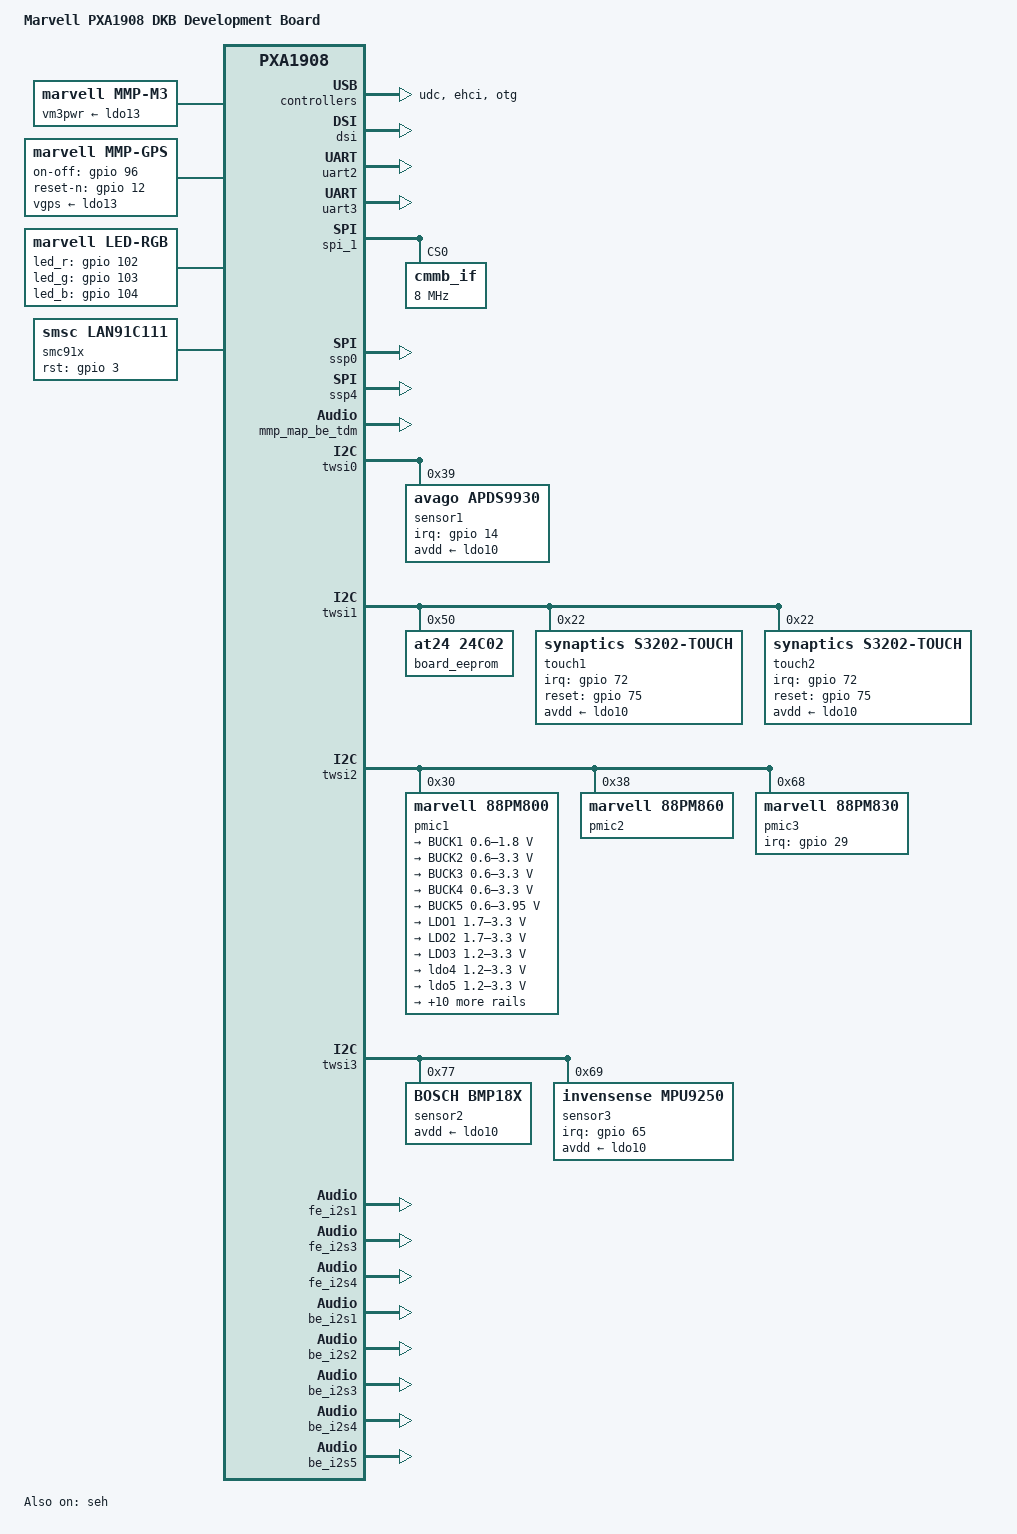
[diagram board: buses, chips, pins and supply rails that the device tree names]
/*
 *  Copyright (C) 2012 Marvell Technology Group Ltd.
 *  Author: Haojian Zhuang <haojian.zhuang@marvell.com>
 *
 *  This program is free software; you can redistribute it and/or modify
 *  it under the terms of the GNU General Public License version 2 as
 *  publishhed by the Free Software Foundation.
 */

/dts-v1/;
/memreserve/ 0x09000000 0x01000000;	/* ION (16MB)*/
/memreserve/ 0x17000000 0x01800000;	/* Frame buffer (24MB) */
/memreserve/ 0x08100000 0x00040000;	/* ramoops buffer (256KB) */
#include "pxa1908.dtsi"
#include <dt-bindings/mmc/pxa_sdhci.h>
#include <dt-bindings/interrupt-controller/irq.h>

/ {
	model = "Marvell PXA1908 DKB Development Board";
	compatible = "mrvl,pxa1908-fpga", "mrvl,pxa1908";

	chosen {
		bootargs = "console=ttyS0,115200 root=/dev/nfs nfsroot=192.168.1.100:/nfsroot/ ip=192.168.1.101:192.168.1.100::255.255.255.0::eth0:on";
	};

	memory {
		reg = <0 0x00000000 0x10000000>;
	};

	gic: interrupt-controller@d1dfa000 {
		status = "okay";
	};

	timer {
		status = "okay";
	};

	pmu {
		status = "okay";
	};

	soc {
		clock: clock-controller {
			status = "okay";
		};

		smmu {  /* iommu in vpu */
			status = "okay";
		};

		ddr@c0100000 {  /* DDR memory controller */
			status = "okay";
		};

		axi@d4200000 {	/* AXI */
			coda7542: coda7542@d420d000 {
				marvell,sram-internal = <0>;
				marvell,nv21_support = <1>;
				status = "okay";
			};

			intc: wakeupgen@d4282000 {
				status = "okay";
			};

			usbphy: usbphy@d4207000 {
				status = "disabled";
			};

			udc: udc@d4208100 {
				status = "okay";
			};

			ehci: ehci@d4208100 {
				status = "okay";
			};

			otg: otg@d4208100 {
				status = "okay";
			};

			dsi: dsi@d420b800 {
				marvell,phy-name = "mmp_dsi1";
				marvell,plat-path-name = "mmp_pnpath";
				marvell,dsi-lanes = <4>;
				marvell,burst-mode = <2>;
				marvell,hbp-en;
				status = "okay";
			};

			vdma: vdma@d4209000 {
				marvell,vdma-num = <1>;
				marvell,vdma-axi = <1>;
				status = "okay";
				vdma1 {
					marvell,vdma-id = <0>;
					marvell,sram-size = <15360>;
					marvell,is_vid = <0>;
				};
			};

			disp: disp@d420b000 {
				pinctrl-names = "default";
				pinctrl-0 = <&disp_func>;
				marvell,disp-name = "disp_name";
				marvell,path-num = <1>;
				status = "okay";
				path1 {
					marvell,path-name = "mmp_pnpath";
					marvell,overlay-num = <1>;
					marvell,overlay-table = <1>;
					marvell,output-type = <1>;
					marvell,path-config = <0x10>;
					marvell,link-config = <0x1>;
					720p {
						disp1_clksrc = "pll1_832m";
						disp2_clksrc = "pll2_div3";
						disp3_clksrc = "pll3p";
						dsipll_clksrc = "pll4";
						pn_sclk_clksrc = "disp1";
					};
				};
			};

			fb0: fbbase {
				marvell,fb-name = "mmp-fb";
				marvell,path-name = "mmp_pnpath";
				marvell,overlay-id = <1>;
				marvell,default-pixfmt = <0x109>;
				marvell,buffer-num = <3>;
				marvell,fb-mem = <0x17000000>;
				status = "okay";
			};

			/* eMMC */
			sdh3: sdh@d4281000 {
				pinctrl-names = "default", "fast";
				pinctrl-0 = <&sdh3_pmx_func1 &sdh3_pmx_func2>;
				pinctrl-1 = <&sdh3_pmx_func1_fast &sdh3_pmx_func2_fast>;
				bus-width = <8>;
				non-removable;
				marvell,sdh-pm-runtime-en;
				marvell,sdh-quirks = <(
						SDHCI_QUIRK_BROKEN_ADMA |
						SDHCI_QUIRK_BROKEN_CARD_DETECTION
						)>;
				marvell,sdh-quirks2 = <(
						SDHCI_QUIRK2_TUNING_ADMA_BROKEN |
						SDHCI_QUIRK2_TIMEOUT_SHORT
						)>;
				marvell,sdh-host-caps = <(MMC_CAP_1_8V_DDR)>;
				marvell,sdh-host-caps2 = <(MMC_CAP2_DISABLE_BLK_ASYNC)>;
				marvell,sdh-flags = <(
						PXA_FLAG_SD_8_BIT_CAPABLE_SLOT |
						PXA_FLAG_ENABLE_CLOCK_GATING |
						PXA_FLAG_TX_SEL_BUS_CLK
					      )>;
		/* prop "sdh-dtr-data": <timing preset_rate src_rate tx_delay rx_delay sdclk_sel0 sdclk_sel1 fakeclk_en> */
				marvell,sdh-dtr-data = <PXA_MMC_TIMING_LEGACY PXA_SDH_DTR_26M PXA_SDH_DTR_104M 0 0 0 0 0>,
						<PXA_MMC_TIMING_MMC_HS PXA_SDH_DTR_52M PXA_SDH_DTR_104M 0 0 0 0 0>,
						<PXA_MMC_TIMING_UHS_DDR50 PXA_SDH_DTR_52M PXA_SDH_DTR_104M 0 0 0 0 0>,
						<PXA_MMC_TIMING_MAX PXA_SDH_DTR_PS_NONE PXA_SDH_DTR_104M 0 0 0 0 0>;
				status = "okay";
			};

			/* SD card */
			sdh1: sdh@d4280000 {
				pinctrl-names = "default", "fast";
				pinctrl-0 = <&sdh1_pmx_func1 &sdh1_pmx_func2 &sdh1_pmx_func3>;
				pinctrl-1 = <&sdh1_pmx_func1 &sdh1_pmx_func2_fast &sdh1_pmx_func3_fast>;
				vqmmc-supply	= <&ldo5>;
				vmmc-supply	= <&ldo4>;
				cd-gpios = <&gpio 91 0>;
				cd-inverted;
				bus-width = <4>;
				wp-inverted;
				marvell,sdh-pm-runtime-en;
				marvell,sdh-host-caps-disable = <(MMC_CAP_UHS_SDR104)>;
				marvell,sdh-quirks = <(
						SDHCI_QUIRK_INVERTED_WRITE_PROTECT |
						SDHCI_QUIRK_BROKEN_CARD_DETECTION
						)>;
				marvell,sdh-quirks2 = <(
						SDHCI_QUIRK2_TUNING_ADMA_BROKEN |
						SDHCI_QUIRK2_TIMEOUT_SHORT
						)>;
				marvell,sdh-flags = <(
						PXA_FLAG_TX_SEL_BUS_CLK |
						PXA_FLAG_ENABLE_CLOCK_GATING
					      )>;
		/* prop "sdh-dtr-data": <timing preset_rate src_rate tx_delay rx_delay sdclk_sel0 sdclk_sel1 fakeclk_en> */
				marvell,sdh-dtr-data = <PXA_MMC_TIMING_LEGACY PXA_SDH_DTR_26M PXA_SDH_DTR_104M 0 0 0 0 0>,
						<PXA_MMC_TIMING_SD_HS PXA_SDH_DTR_52M PXA_SDH_DTR_104M 0 0 0 0 0>,
						<PXA_MMC_TIMING_UHS_DDR50 PXA_SDH_DTR_52M PXA_SDH_DTR_104M 0 0 0 0 0>,
						<PXA_MMC_TIMING_MAX PXA_SDH_DTR_PS_NONE PXA_SDH_DTR_104M 0 0 0 0 0>;
				status = "okay";
			};

			/* SDIO */
			sdh2: sdh@d4280800 {
				pinctrl-names = "default", "fast", "sleep";
				pinctrl-0 = <&sdh2_pmx_func1 &sdh2_pmx_func2 &sdh2_pmx_func3 &sdh2_pmx_func4>;
				pinctrl-1 = <&sdh2_pmx_func1_fast &sdh2_pmx_func2_fast &sdh2_pmx_func3 &sdh2_pmx_func4>;
				pinctrl-2 = <&sdh2_pmx_edge_wakeup>;
				bus-width = <4>;
				marvell,sdh-pm-runtime-en;
				marvell,sdh-host-caps-disable = <(MMC_CAP_UHS_SDR104 | MMC_CAP_UHS_SDR50)>;
				marvell,sdh-quirks = <(SDHCI_QUIRK_BROKEN_CARD_DETECTION)>;
				marvell,sdh-quirks2 = <(SDHCI_QUIRK2_HOLDSUSPEND_AFTER_REQUEST |
						SDHCI_QUIRK2_FAKE_SDIO_IRQ_IN_UHS |
						SDHCI_QUIRK2_TUNING_ADMA_BROKEN |
						SDHCI_QUIRK2_BASE_CLOCK_ALWAYS_ON |
						SDHCI_QUIRK2_MANUAL_CARD_DETECT |
						SDHCI_QUIRK2_TIMEOUT_SHORT
						)>;
				marvell,sdh-pm-caps = <(MMC_PM_KEEP_POWER)>;
				marvell,sdh-host-caps2 = <(MMC_CAP2_NO_VOLTAGE_SWITCH)>;
				marvell,sdh-flags = <(
						PXA_FLAG_WAKEUP_HOST |
						PXA_FLAG_TX_SEL_BUS_CLK |
						PXA_FLAG_EN_PM_RUNTIME |
						PXA_FLAG_DISABLE_PROBE_CDSCAN
					      )>;
		/* prop "sdh-dtr-data": <timing preset_rate src_rate tx_delay rx_delay sdclk_sel0 sdclk_sel1 fakeclk_en> */
				marvell,sdh-dtr-data = <PXA_MMC_TIMING_LEGACY PXA_SDH_DTR_26M PXA_SDH_DTR_104M 0 0 0 0 0>,
						<PXA_MMC_TIMING_SD_HS PXA_SDH_DTR_45M PXA_SDH_DTR_89M 0 0 0 0 0>,
						<PXA_MMC_TIMING_UHS_DDR50 PXA_SDH_DTR_52M PXA_SDH_DTR_104M 0 0 0 0 0>,
						<PXA_MMC_TIMING_UHS_SDR50 PXA_SDH_DTR_104M PXA_SDH_DTR_104M 0 0 0 0 0>,
						<PXA_MMC_TIMING_UHS_SDR104 PXA_SDH_DTR_208M PXA_SDH_DTR_208M 600 0 0 0 1>,
						<PXA_MMC_TIMING_MAX PXA_SDH_DTR_PS_NONE PXA_SDH_DTR_89M 0 0 0 0 0>;
				status = "okay";
			};

			ccic1: ccic@d420a000 {
			   pinctrl-names = "default";
			   pinctrl-0 = <&ccic1_pmx_func1 &ccic1_pmx_func2>;
			   interrupts = <0 42 0x4>;
			   status = "disabled";
			};

			ccic2: ccic@d420a800 {
			   pinctrl-names = "default";
			   pinctrl-0 = <&ccic2_pmx_func1 &ccic2_pmx_func2>;
			   interrupts = <0 77 0x4>;
			   status = "disabled";
			};

			sc2mmu1: sc2mmu@d420F000 {
				interrupts = <0 15 0x4>;
				status = "disabled";
			};

			b52isp: b52isp@0xC0200000 {
				interrupts = <0 11 0x4>;
				status = "disabled";
			};

			vpu-devfreq {
				status = "okay";
			};

			asram: asram@d12a0000 {
				status = "okay";
			};

			adma0: adma@d128d800 {
				status = "okay";
			};
		};

		apb@d4000000 {
			pdma0: pdma@d4000000 {
				status = "okay";
			};

			timer2: timer@d401f000 {
				status = "okay";
			};

			uart2: uart@d4017000 {
				pinctrl-names = "default", "sleep";
				pinctrl-0 = <&uart2_pmx_func1 &uart2_pmx_func2>;
				pinctrl-1 = <&uart2_pmx_func1_sleep &uart2_pmx_func2>;
				edge-wakeup-gpio = <47>; /* GPIO47: UART rx pin */
				status = "okay";
			};

			uart3: uart@d4018000 {
				pinctrl-names = "default";
				pinctrl-0 = <&uart3_pmx_func>;
				status = "okay";
			};

			mfpr: mfpr@d401e000 {
				pinctrl-names = "default";
				reg = <0xd401e000 0x280>;
				pinctrl-0 = <&mfp_pins_group_0 &mfp_pins_group_1 &mfp_pins_group_2>;
				status = "ok";
			};

			edgewakeup: edgewakeup@d4019800 {
				status = "okay";
			};

			rtc: rtc@d4010000 {
				status = "okay";
			};

			thermal: thermal@d4013300 {
				status = "okay";
			};

			watchdog: watchdog@d4080000 {
				status = "disabled";
			};

			keypad: keypad@d4012000 {
				marvell,direct-keys;
				marvell,direct-key-low-active;
				marvell,keypad-lpm-mod;
				marvell,direct-key-count = <2>;
				marvell,direct-key-mask = <0xff>;
				marvell,direct-key-map = < 0x73
							   0x72>;
				marvell,debounce-interval = <30>;
				pinctrl-names = "default";
				pinctrl-0 = <&keypad_in_func>;
				status = "okay";
			};

			keyreset {
				compatible = "marvell,keyreset";
				keys-down = <0x73 0x72>;
				keyreset-need-panic;
			};

			spi_1: spi@d401b000 {
					port = <&ssp0>;
					status = "okay";
					pinctrl-names = "default";
					pinctrl-0 = <&spi1_pmx_func>;
					#address-cells = <1>;
					#size-cells = <0>;
					cmmb_if {
						compatible = "cmmb_if";
						reg = <0x0 0x0>;
						bus_num = <1>;
						mode = <0x0>;
						spi-max-frequency = <8000000>;
					};
			};

			ssp0: ssp@d401b000 {
				status = "okay";
			};

			ssp4: ssp@d4039000 {
				status = "okay";
			};

			ssp_dai4: pxa-ssp-dai@4 {
				compatible = "mrvl,pxa-ssp-dai";
				reg = <0x4 0x0>;
				port = <&ssp4>;
				pinctrl-names = "default","ssp";
				pinctrl-0 = <&gssp_gpio>;
				pinctrl-1 = <&gssp_func>;
				ssp-gpio = <&gpio 25 0 &gpio 26 0 &gpio 27 0 &gpio 28 0>;
				dmas = <&pdma0 6 0
					&pdma0 7 0>;
				dma-names = "rx", "tx";
				platform_driver_name = "pdma_platform";
				burst_size = <8>;
				playback_period_bytes = <4096>;
				playback_buffer_bytes = <131072>;
				capture_period_bytes = <4096>;
				capture_buffer_bytes = <131072>;
			};

			/* SSPA port 0 */
			sspa0: sspa@d128dc00 {
				pinctrl-names = "default";
				pinctrl-0 = <&sspa0_func>;
				playback_period_bytes = <4096>;
				playback_buffer_bytes = <16384>;
				capture_period_bytes = <4096>;
				capture_buffer_bytes = <12288>;
				burst_size = <4>;
				#dailink-cells = <1>;
				status = "okay";
			};

			map: map@d1200000 {
				marvell,apll = <1>;
				status = "okay";
				mmp_map_codec: mmp_map_codec {
					compatible = "marvell,mmp-map-codec";
					#dailink-cells = <1>;
				};
				mmp_map_be: mmp_map_be {
					compatible = "marvell,mmp-map-be";
					#dailink-cells = <1>;
				};
				mmp_map_be_tdm: mmp_map_be_tdm {
					compatible = "marvell,mmp-map-be-tdm";
					marvell,single-out;
					#dailink-cells = <1>;
				};
			};

			gpio: gpio@d4019000 {
				status = "okay";
				/*
				 * In theorical, some gpios could be routed to
				 * multiple pins. So define the gpio-ranges in
				 * board file, not silicon file.
				 */
				gcb0: gpio@d4019000 {
					/* gpio offset, pin offset, nr pins */
					gpio-ranges = <&pmx 0 55 32>;
				};
				gcb1: gpio@d4019004 {
					gpio-ranges = <&pmx 0 87 23>;
				};
				gcb2: gpio@d4019008 {
					gpio-ranges = <&pmx 3 110 29>;
				};
				gcb3: gpio@d4019100 {
					gpio-ranges = <&pmx 0 139 3  &pmx 28 52 1>;
				};
			};
			pmx: pinmux@d401e000 {
				status = "okay";

				/* pin base, nr pins & gpio function */
				pinctrl-single,gpio-range = <
					/*
					 * GPIO number is hardcoded for range at here.
					 * In gpio chip, GPIO number is not hardcoded for range.
					 * Since one gpio pin may be routed to multiple pins,
					 * define these gpio range in pxa910-dkb.dts not pxa910.dtsi.
					 */
					&range 55 55 0	/* GPIO0 ~ GPIO54 */
					&range 110 32 0 /* GPIO67 ~ GPIO98 */
					&range 52 1 0	/* GPIO124 */
				>;

				/* MFP_PULL_HIGH | MFP_LPM_FLOAT */
				mfp_pins_group_0: mfp_pins_group_0 {
					pinctrl-single,pins = <
						PRI_TDO AF0
						DF_RDY0 AF1
						DF_RDY1 AF1
						DF_nCS0_SM_nCS2 AF1
						PA_MODE AF6
						RF_CONF_4 AF6
						SM_ADVMUX AF1
					>;
					MFP_LPM_PULL_UP;
				};

				mfp_pins_group_1: mfp_pins_group_1 {
					pinctrl-single,pins = <
						DF_IO8 AF0
						DF_IO9 AF0
						GPIO76 AF0
					>;
					MFP_LPM_PULL_DW;
				};

				/* CP UART Rx and Tx */
				mfp_pins_group_2: mfp_pins_group_2 {
					pinctrl-single,pins = <
						GPIO43 AF7
						GPIO44 AF7
					>;
					MFP_DEFAULT;
				};

				/* MFP_DEFAULT */
				sdh1_pmx_func1: sdh1_pmx_func1 {
					pinctrl-single,pins = <
						MMC1_DAT7 AF1
						MMC1_DAT6 AF1
						MMC1_DAT5 AF1
						MMC1_DAT4 AF1
						MMC1_WP AF1
						MMC1_CD AF1 /* Above pins not used by sdh1, configured as GPIO */
						GPIO91 AF0 /* GPIO91, used for sd card detect */
					>;
					MFP_DEFAULT;
				};

				/* no pull, no LPM */
				sdh1_pmx_func2: sdh1_pmx_func2 {
					pinctrl-single,pins = <
						MMC1_DAT3 AF0
						MMC1_DAT2 AF0
						MMC1_DAT1 AF0
						MMC1_DAT0 AF0
						MMC1_CMD AF0
					>;
					MFP_DEFAULT;
				};

				/* MFP_LPM_DRIVE_LOW */
				sdh1_pmx_func3: sdh1_pmx_func3 {
					pinctrl-single,pins = <
						MMC1_CLK AF0
					>;
					MFP_LPM_DRIVE_LOW;
				};

				/* ds fast, no pull, no LPM */
				sdh1_pmx_func2_fast: sdh1_pmx_func2_fast {
					pinctrl-single,pins = <
						MMC1_DAT3 AF0
						MMC1_DAT2 AF0
						MMC1_DAT1 AF0
						MMC1_DAT0 AF0
						MMC1_CMD AF0
					>;
					DS_FAST;PULL_NONE;EDGE_NONE;LPM_NONE;
				};

				/* ds fast, LPM_DRIVE_LOW */
				sdh1_pmx_func3_fast: sdh1_pmx_func3_fast {
					pinctrl-single,pins = <
						MMC1_CLK AF0
					>;
					DS_FAST;PULL_NONE;EDGE_NONE;LPM_DRIVE_LOW;
				};

				sdh2_pmx_func1_fast: sdh2_pmx_func1_fast {
						pinctrl-single,pins = <
							GPIO37 AF1
							GPIO38 AF1
							GPIO39 AF1
							GPIO40 AF1
							GPIO41 AF1
						>;
						DS_FAST;PULL_NONE;EDGE_NONE;LPM_NONE;
				};

				sdh2_pmx_func2_fast: sdh2_pmx_func2_fast {
						pinctrl-single,pins = <
							GPIO42 AF1
						>;
						DS_FAST;PULL_NONE;EDGE_NONE;LPM_DRIVE_LOW;
				};

				sdh2_pmx_func1: sdh2_pmx_func1 {
						pinctrl-single,pins = <
							GPIO37 AF1
							GPIO38 AF1
							GPIO39 AF1
							GPIO40 AF1
							GPIO41 AF1
						>;
						MFP_DEFAULT;
				};

				sdh2_pmx_func2: sdh2_pmx_func2 {
						pinctrl-single,pins = <
							GPIO42 AF1
						>;
						DS_SLOW0;PULL_NONE;EDGE_NONE;LPM_DRIVE_LOW;
				};

				sdh2_pmx_func3: sdh2_pmx_func3 {
						pinctrl-single,pins = <
							GPIO7 AF0
							GPIO71 AF0
							GPIO20 AF0 /* WIB_3V3_EN */
						>;
						DS_MEDIUM;PULL_FLOAT;EDGE_NONE;LPM_NONE;
				};

				sdh2_pmx_func4: sdh2_pmx_func4 {
						pinctrl-single,pins = <
							GPIO8 AF0
							GPIO5 AF0
						>;
						DS_MEDIUM;PULL_DOWN;EDGE_NONE;LPM_NONE;
				};

				sdh2_pmx_edge_wakeup: sdh2_pmx_edge_wakeup {
						pinctrl-single,pins = <
							GPIO39 AF1
						>;
						DS_MEDIUM;PULL_NONE;EDGE_BOTH;LPM_NONE;
				};

				/* no pull, no LPM */
				sdh3_pmx_func1: sdh3_pmx_func1 {
					pinctrl-single,pins = <
						ND_IO7 AF1
						ND_IO6 AF1
						ND_IO5 AF1
						ND_IO4 AF1
						ND_IO3 AF1
						ND_IO2 AF1
						ND_IO1 AF1
						ND_IO0 AF1
						ND_CLE_SM_OEN AF1
					>;
					MFP_DEFAULT;
				};

				/* MFP_LPM_DRIVE_LOW */
				sdh3_pmx_func2: sdh3_pmx_func2 {
					pinctrl-single,pins = <
						SM_SCLK AF1
					>;
					MFP_LPM_DRIVE_LOW;
				};

				/* ds fast, no pull, no LPM */
				sdh3_pmx_func1_fast: sdh3_pmx_func1_fast {
					pinctrl-single,pins = <
						ND_IO7 AF1
						ND_IO6 AF1
						ND_IO5 AF1
						ND_IO4 AF1
						ND_IO3 AF1
						ND_IO2 AF1
						ND_IO1 AF1
						ND_IO0 AF1
						ND_CLE_SM_OEN AF1
					>;
					DS_FAST;PULL_NONE;EDGE_NONE;LPM_NONE;
				};

				/* ds fast, LPM_DRIVE_LOW */
				sdh3_pmx_func2_fast: sdh3_pmx_func2_fast {
					pinctrl-single,pins = <
						SM_SCLK AF1
					>;
					DS_FAST;PULL_NONE;EDGE_NONE;LPM_DRIVE_LOW;
				};

				gnss_pmx_def1: gnss_pmx_def1 {
					pinctrl-single,pins = <
						ND_IO11 AF1
						ND_IO12 AF1
						ND_IO13 AF1
						ND_IO15 AF1
					>;
					MFP_LPM_PULL_DW;
				};

				gnss_pmx_def2: gnss_pmx_def2 {
					pinctrl-single,pins = <
						ND_IO14 AF0
					>;
					MFP_LPM_FLOAT;
				};

				gnss_pmx_power_on: gnss_pmx_power_on {
					pinctrl-single,pins = <
						ND_IO11 AF5
						ND_IO12 AF5
						ND_IO13 AF5
						ND_IO14 AF5
						ND_IO15 AF5
					>;
					MFP_DEFAULT;
				};

				uart2_pmx_func1: uart2_pmx_func1 {
					pinctrl-single,pins = <
						GPIO47 AF6
					>;
					MFP_DEFAULT;
				};

				uart2_pmx_func2: uart2_pmx_func2 {
					pinctrl-single,pins = <
						GPIO48 AF6
					>;
					MFP_DEFAULT;
				};

				uart2_pmx_func1_sleep: uart2_pmx_func1_sleep {
					pinctrl-single,pins = <
						GPIO47 AF6
					>;
					DS_MEDIUM;PULL_NONE;EDGE_BOTH;LPM_NONE;
				};

				uart3_pmx_func: uart3_pmx_func {
					pinctrl-single,pins = <
						GPIO45 AF1
						GPIO46 AF1
					>;
					MFP_DEFAULT;
				};

				keypad_in_func: keypad_in_func {
					pinctrl-single,pins = <
						GPIO16 AF1	/* GPIO016_KP_DKIN1 */
						GPIO17 AF1	/* GPIO017_KP_DKIN2 */
					>;
					DS_MEDIUM;PULL_UP;EDGE_NONE;LPM_DRIVE_HIGH;
				};

				gps_pmx_reset: gps_pmx_reset {
					pinctrl-single,pins = <
						GPIO12 AF0
					>;
					DS_MEDIUM;PULL_DOWN;EDGE_NONE;LPM_NONE;
				};
				gps_pmx_eclk: gps_pmx_eclk {
					/* eclk */
					pinctrl-single,pins = <
						0x0124 0x6
					>;
					MFP_DEFAULT;
				};

				gps_pmx_gpio: gps_pmx_gpio {
					/* gpio18 */
					pinctrl-single,pins = <
						0x0124 0x0
					>;
					MFP_DEFAULT;
				};

				spi1_pmx_func: spi1_pmx_func {
					/*
					 * Since spi isn't used on DKB, set spi
					 * mfp pin to gpio and set the mfp's
					 * config to MFP_DEFAULT to avoid power
					 * leakage. To enable spi, below config
					 * should be modified as below:
					 * GPIO33 AF2
					 * GPIO34 AF2
					 * GPIO35 AF2
					 * GPIO36 AF2
					 * DS_MEDIUM;PULL_DOWN;EDGE_NONE;LPM_NONE;
					 */
					pinctrl-single,pins = <
						GPIO33 AF0 /* GPIO33 SSP0_CLK */
						GPIO34 AF0 /* GPIO34 SSP0_FRM */
						GPIO35 AF0 /* GPIO35 SSP0_RX */
						GPIO36 AF0 /* GPIO36 SSP0_TX */
					>;
					MFP_DEFAULT;
				};

				ccic1_pmx_func1: ccic1_pmx_func1 {
					pinctrl-single,pins = <
						GPIO77 AF1
						GPIO67 AF5
						GPIO68 AF5
					>;
					MFP_DEFAULT;
				};

				ccic1_pmx_func2: ccic1_pmx_func2 {
					pinctrl-single,pins = <
						GPIO51 AF7
						GPIO52 AF7
					>;
					MFP_LPM_FLOAT;
				};
				ccic2_pmx_func1: ccic2_pmx_func1 {
					pinctrl-single,pins = <
						GPIO77 AF1
						GPIO69 AF5
						GPIO70 AF5
					>;
					MFP_DEFAULT;
				};

				ccic2_pmx_func2: ccic2_pmx_func2 {
					pinctrl-single,pins = <
						GPIO53 AF7
						GPIO54 AF7
					>;
					MFP_LPM_FLOAT;
				};

				twsi0_pmx_func: twsi0_pmx_func {
					/* gpio79/80: AF1 */
					pinctrl-single,pins = <
						GPIO79 0x1
						GPIO80 0x1
					>;
					MFP_LPM_FLOAT;
				};
				twsi0_pmx_gpio: twsi0_pmx_gpio {
					pinctrl-single,pins = <
						GPIO79 AF0
						GPIO80 AF0
					>;
					MFP_LPM_FLOAT;
				};
				twsi1_pmx_func: twsi1_pmx_func {
					/* gpio87/88: AF5 */
					pinctrl-single,pins = <
						GPIO87 0x5
						GPIO88 0x5
					>;
					MFP_LPM_FLOAT;
				};
				twsi1_pmx_gpio: twsi1_pmx_gpio {
					pinctrl-single,pins = <
						GPIO87 AF0
						GPIO88 AF0
					>;
					MFP_LPM_FLOAT;
				};

				twsi3_pmx_func: twsi3_pmx_func {
					/* gpio73/74: AF5 */
					pinctrl-single,pins = <
						0x1d0 0x5
						0x1d4 0x5
					>;
					MFP_LPM_FLOAT;
				};
				twsi3_pmx_gpio: twsi3_pmx_gpio {
					pinctrl-single,pins = <
						GPIO73 AF0
						GPIO74 AF0
					>;
					MFP_LPM_FLOAT;
				};
				pm830_pmx_func1: pm830_pmx_func1 {
					pinctrl-single,pins = <
						GPIO29 AF0
					>;
					MFP_DEFAULT;
				};
				pm830_pmx_func1_sleep: pm830_pmx_func1_sleep {
					pinctrl-single,pins = <
						GPIO29 AF0
					>;
					DS_MEDIUM;PULL_NONE;EDGE_BOTH;LPM_NONE;
				};

				touch_pins: touch_pins {
					pinctrl-single,pins = <
						GPIO72 0x0
						GPIO75 0x0
					>;
					MFP_LPM_FLOAT;

				};
				pm830_pmx_leds: pm830_pmx_leds {
					pinctrl-single,pins = <
						GPIO19 AF0	/* PA_EN */
						GPIO95 AF0	/* FLASH_EN */
					>;
					MFP_LPM_FLOAT;
				};
				pm830_bat_det: pm830_bat_det {
					pinctrl-single,pins = <
						GPIO31 AF0	/* BAT_DET */
					>;
					MFP_LPM_PULL_DW;
				};
				m9250_irq_pin: m9250_irq_pin {
					pinctrl-single,pins = <
					ND_IO10 AF1
					>;
					MFP_LPM_PULL_DW;
				};
				sspa0_gpio: sspa0_gpio {
					pinctrl-single,pins = <
						GPIO21 AF0
						GPIO22 AF0
						GPIO23 AF0
						GPIO24 AF0
					>;
					DS_MEDIUM;PULL_NONE;EDGE_NONE;LPM_FLOAT;
				};
				sspa0_func: sspa0_func {
					pinctrl-single,pins = <
						GPIO21 AF7
						GPIO22 AF7
						GPIO23 AF7
						GPIO24 AF7
					>;
					DS_MEDIUM;PULL_NONE;EDGE_NONE;LPM_NONE;
				};
				sspa1_func: sspa1_func {
					pinctrl-single,pins = <
						GPIO25 AF7
						GPIO26 AF7
						GPIO27 AF7
						GPIO28 AF7
					>;
					DS_MEDIUM;PULL_NONE;EDGE_NONE;LPM_NONE;
				};
				disp_func: disp_func {
					pinctrl-single,pins = <
						GPIO4 AF0
						GPIO6 AF0
						GPIO32 AF0
					>;
					MFP_LPM_PULL_DW;
				};
				/* no pull, no LPM */
				dvc_pmx_func: dvc_pmx_func {
					pinctrl-single,pins = <
						GPIO93 AF5
						GPIO94 AF5
					>;
					MFP_DEFAULT;
				};
				gssp_func: gssp_func {
					pinctrl-single,pins = <
						GPIO25 AF1
						GPIO26 AF1
						GPIO27 AF1
						GPIO28 AF1
					>;
					DS_MEDIUM;PULL_NONE;EDGE_NONE;LPM_NONE;
				};
				gssp_gpio: gssp_gpio {
					pinctrl-single,pins = <
						GPIO25 AF0
						GPIO26 AF0
						GPIO27 AF0
						GPIO28 AF0
					>;
					DS_MEDIUM;PULL_NONE;EDGE_NONE;LPM_FLOAT;
				};

				led_pmx_func: led_pmx_func {
					pinctrl-single,pins = <
						/* LED_R_CTRL */
						DF_nCS1_SM_nCS3 AF1
						/* LED_G_CTRL */
						SM_nCS0 AF1
						/* LED_B_CTRL */
						SM_nCS1 AF1
					>;
					MFP_LPM_PULL_DW;
				};
			};

			twsi0: i2c@d4011000 {
				pinctrl-names = "default","gpio";
				pinctrl-0 = <&twsi0_pmx_func>;
				pinctrl-1 = <&twsi0_pmx_gpio>;
				i2c-gpio = <&gpio 79 0 &gpio 80 0>;
				status = "okay";

				sensor1: apds9930@39 {
					compatible = "avago,apds9930";
					reg = <0x39>;
					interrupt-parent = <&gpio>;
					interrupts = <14 0x1>;
					irq-gpios = <&gpio 14 0>;
					avdd-supply = <&ldo10>;
				};
			};

			twsi1: i2c@d4010800 {
				pinctrl-names = "default","gpio";
				pinctrl-0 = <&twsi1_pmx_func>;
				pinctrl-1 = <&twsi1_pmx_gpio>;
				i2c-gpio = <&gpio 87 0 &gpio 88 0>;
				status = "okay";

				board_eeprom: 24aa025t {
					compatible = "at24,24c02";
					reg = <0x50>;
				};

				touch1: s3202@720p {
					compatible = "synaptics,s3202-touch";
					pinctrl-names = "default"; pinctrl-0 = <&touch_pins>;
					reg = <0x22>;
					interrupt-parent = <&gpio>;
					interrupts = <72 0x1>;
					/* IRQF_ONESHOT | IRQF_TRIGGER_FALLING */
					synaptics,irq-flags =  <0x2002>;
					synaptics,irq-gpios = <&gpio 72 0>;
					synaptics,reset-gpios = <&gpio 75 0>;
					synaptics,sensor_res_x = <720>;
					synaptics,sensor_res_y = <1280>;
					synaptics,sensor_max_x = <798>;
					synaptics,sensor_max_y = <1392>;
					synaptics,sensor_margin_x = <39>;
					synaptics,sensor_margin_y = <0>;
					avdd-supply = <&ldo10>;
				};

				touch2: s3202@1080p {
					compatible = "synaptics,s3202-touch";
					pinctrl-names = "default"; pinctrl-0 = <&touch_pins>;
					reg = <0x22>;
					interrupt-parent = <&gpio>;
					interrupts = <72 0x1>;
					/* IRQF_ONESHOT | IRQF_TRIGGER_FALLING */
					synaptics,irq-flags =  <0x2002>;
					synaptics,irq-gpios = <&gpio 72 0>;
					synaptics,reset-gpios = <&gpio 75 0>;
					synaptics,sensor_res_x = <1080>;
					synaptics,sensor_res_y = <1920>;
					synaptics,sensor_max_x = <1080>;
					synaptics,sensor_max_y = <2070>;
					synaptics,sensor_margin_x = <0>;
					synaptics,sensor_margin_y = <0>;
					avdd-supply = <&ldo10>;
				};

			};

			twsi2: i2c@d4037000 {
				status = "okay";

				pmic1: 88pm822@30 {
					compatible = "marvell,88pm800";
					reg = <0x30>;
					interrupts = <0 4 0x4>;
					interrupt-parent = <&gic>;
					interrupt-controller;
					#interrupt-cells = <1>;
					marvell,88pm800-irq-write-clear;

					marvell,88pm800-power-page-addr = <0x31>;
					marvell,88pm800-gpadc-page-addr = <0x32>;

					regulators {
						compatible = "marvell,88pm80x-regulator";

						BUCK1 {
							regulator-compatible = "88PM800-BUCK1";
							regulator-min-microvolt = <600000>;
							regulator-max-microvolt = <1800000>;
							regulator-boot-on;
							regulator-always-on;
						};
						BUCK2 {
							regulator-compatible = "88PM800-BUCK2";
							regulator-min-microvolt = <600000>;
							regulator-max-microvolt = <3300000>;
							regulator-boot-on;
							regulator-always-on;
						};
						BUCK3 {
							regulator-compatible = "88PM800-BUCK3";
							regulator-min-microvolt = <600000>;
							regulator-max-microvolt = <3300000>;
							regulator-boot-on;
							regulator-always-on;
						};
						BUCK4 {
							regulator-compatible = "88PM800-BUCK4";
							regulator-min-microvolt = <600000>;
							regulator-max-microvolt = <3300000>;
							regulator-boot-on;
							regulator-always-on;
						};
						BUCK5 {
							regulator-compatible = "88PM800-BUCK5";
							regulator-min-microvolt = <600000>;
							regulator-max-microvolt = <3950000>;
							regulator-boot-on;
							regulator-always-on;
						};
						LDO1 {
							regulator-compatible = "88PM800-LDO1";
							regulator-min-microvolt = <1700000>;
							regulator-max-microvolt = <3300000>;
							regulator-boot-on;
							regulator-always-on;
						};
						LDO2 {
							regulator-compatible = "88PM800-LDO2";
							regulator-min-microvolt = <1700000>;
							regulator-max-microvolt = <3300000>;
							regulator-boot-on;
							regulator-always-on;
						};
						LDO3 {
							regulator-compatible = "88PM800-LDO3";
							regulator-min-microvolt = <1200000>;
							regulator-max-microvolt = <3300000>;
							regulator-boot-on;
							regulator-always-on;
						};
						ldo4: LDO4 {
							regulator-compatible = "88PM800-LDO4";
							regulator-min-microvolt = <1200000>;
							regulator-max-microvolt = <3300000>;
						};
						ldo5: LDO5 {
							regulator-compatible = "88PM800-LDO5";
							regulator-min-microvolt = <1200000>;
							regulator-max-microvolt = <3300000>;
						};
						LDO6 {
							regulator-compatible = "88PM800-LDO6";
							regulator-min-microvolt = <1200000>;
							regulator-max-microvolt = <3300000>;
						};
						LDO7 {
							regulator-compatible = "88PM800-LDO7";
							regulator-min-microvolt = <1200000>;
							regulator-max-microvolt = <3300000>;
							regulator-boot-on;
							regulator-always-on;
						};
						ldo8: LDO8 {
							regulator-compatible = "88PM800-LDO8";
							regulator-min-microvolt = <1200000>;
							regulator-max-microvolt = <3300000>;
							regulator-boot-on;
							regulator-always-on;
						};
						LDO9 {
							regulator-compatible = "88PM800-LDO9";
							regulator-min-microvolt = <1200000>;
							regulator-max-microvolt = <3300000>;
						};
						ldo10: LDO10 {
							regulator-compatible = "88PM800-LDO10";
							regulator-min-microvolt = <1200000>;
							regulator-max-microvolt = <3300000>;
						};
						ldo11: LDO11 {
							regulator-compatible = "88PM800-LDO11";
							regulator-min-microvolt = <1200000>;
							regulator-max-microvolt = <3300000>;
						};
						ldo12: LDO12 {
							regulator-compatible = "88PM800-LDO12";
							regulator-min-microvolt = <600000>;
							regulator-max-microvolt = <1500000>;
						};
						ldo13: LDO13 {
							regulator-compatible = "88PM800-LDO13";
							regulator-min-microvolt = <1700000>;
							regulator-max-microvolt = <3300000>;
						};
						ldo14: LDO14 {
							regulator-compatible = "88PM800-LDO14";
							regulator-min-microvolt = <1700000>;
							regulator-max-microvolt = <2800000>;
						};
						voutsw: VOUTSW {
							regulator-compatible = "88PM800-VOUTSW";
							regulator-min-microvolt = <1700000>;
							regulator-max-microvolt = <1800000>;
						};
					};

					vibrator: vibrator {
						compatible = "marvell,88pm80x-vibrator";
						min-timeout = <10>;
						duty-cycle = <0x3f>;
					};

					headset {
						compatible = "marvell,88pm80x-headset";
						marvell,switch-name = "h2w";
						marvell,headset-flag = <1>;
						marvell,hook-press-th = <60>;
						marvell,vol-up-press-th = <250>;
						marvell,vol-down-press-th = <500>;
						marvell,mic-det-th = <600>;
						marvell,press-release-th = <600>;
						marvell,micbias-supply = <&ldo14>;
					};

					dvc {
						compatible = "marvell,88pm8xx-dvc";
						/* pm822 dvc affect buck1/3/5, affected 32bit = (1 << 4) | (1 << 2) | (1 << 0)*/
						dvc-affected-buckbits = <21>;
						pinctrl-names = "default";
						pinctrl-0 = <&dvc_pmx_func>;
					};
				};
				pmic2: 88pm860@38 {
					compatible = "marvell,88pm860";
					reg = <0x38>;
					/* no codec_int currently, comment out now */
					/*
					interrupt-parent = <&gpio>;
					interrupts = <124 0x1>;
					marvell,88pm805-irq-write-clear;
					*/
					pm860_codec: pm860_codec {
						compatible = "marvell,88pm860-codec";
						#dailink-cells = <1>;
					};
				};

				pmic3: 88pm830@68 {
					compatible = "marvell,88pm830";

					pinctrl-names = "default", "sleep";
					pinctrl-0 = <&pm830_pmx_func1 &pm830_pmx_leds &pm830_bat_det>;
					pinctrl-1 = <&pm830_pmx_func1_sleep &pm830_pmx_leds &pm830_bat_det>;
					edge-wakeup-gpio = <29>; /* GPIO29: interrupt line */

					reg = <0x68>;
					interrupt-parent = <&gpio>;
					interrupt-controller;
					/* edge falling */
					interrupts = <29 2>;
					#interrupt-cells = <1>;

					/* IRQF_ONESHOT | IRQF_TRIGGER_FALLING */
					marvell,88pm830-irq-flags =  <0x2002>;

					charger {
						compatible = "marvell,88pm830-chg";
						prechg-current = <100>;	/* mA */
						prechg-voltage = <3300>; /* mV */
						prechg-timeout = <32>; /* minute */

						fastchg-eoc = <60>; /* mA */
						fastchg-voltage = <4200>; /* mV */
						fastchg-timeout = <8>; /* hour */

						over-voltage = <4300>; /* mV */

						no-thermal-support = <0>;
						thermal-threshold = <0xf 0xf 0x0 0x0>;

						temp-configure = <0x22>;
						temp-threshold = <150>;

						mppt-weight = <0x2>; /* 25% */
						mppt-period = <0x7>; /* 20ms */
						mppt-start-current = <0xf>; /* 1600mA */

					};

					battery {
						compatible = "marvell,88pm830-bat";

						bat-ntc-support = <1>;
						bat-capacity = <1500>;	/* mAh */
						external-resistor = <200>; /* mohm */
						sleep-period = <1000>; /* second */
						low-threshold = <30>; /* % */
						high-threshold = <50>; /* % */
					};

					usb {
						compatible = "marvell,88pm830-vbus";
						gpadc-number = <1>;
					};

					led {
						compatible = "marvell,88pm830-led";

						flash-en-gpio = <95>;
						flash-txmsk-gpio = <19>;
					};
				};
			};

			twsi3: i2c@d4013800 {
				pinctrl-names = "default", "gpio";
				pinctrl-0 = <&twsi3_pmx_func>;
				pinctrl-1 = <&twsi3_pmx_gpio>;
				i2c-gpio = <&gpio 73 0 &gpio 74 0>;
				status = "okay";

				sensor2: bmp18x@77 {
					compatible = "BOSCH,bmp18x";
					reg = <0x77>;
					avdd-supply = <&ldo10>;
				};

				sensor3: mpu9250@69 {
					compatible = "invensense,mpu9250";
					pinctrl-names = "default";
					pinctrl-0 = <&m9250_irq_pin>;
					reg = <0x69>;
					interrupt-parent = <&gpio>;
					interrupts = <65 IRQ_TYPE_EDGE_FALLING>;
					inven,irq-gpios = <&gpio 65 0x00>;
					avdd-supply = <&ldo10>;
					axis_map_x = <0>;
					negate_x = <0>;
					axis_map_y = <4>;
					negate_y = <0>;
					axis_map_z = <8>;
					negate_z = <0>;
					inven,secondary_axis_map_x = <0>;
					inven,secondary_negate_x = <0>;
					inven,secondary_axis_map_y = <4>;
					inven,secondary_negate_y = <0>;
					inven,secondary_axis_map_z = <8>;
					inven,secondary_negate_z = <0>;
					inven,secondary_type = "compass";
					inven,secondary_name = "ak8963";
					inven,secondary_reg = <0xc>;
				};
			};

			acipc: acipc@d401d000 {
				status = "okay";
			};

			seh: seh@d4080000 {
				compatible = "mrvl,seh";
				reg = <0xd4080000 0x100>;
				interrupts = <0 32 0x4>;
				interrupt-names = "CP_TIMER2_3";
				watchdog-type = <1>; /* soc timer */
				timer-num = <2>; /* timer num */
				match-num = <0>; /* match num */
				status = "okay";
			};
		};

		sram: sram@0xd1004000 {
			status = "okay";
		};

		mcam0:mcam@0 {
			pwdn-gpios = <&gpio 80 0>;
			reset-gpios = <&gpio 67 0>;
			af_2v8-supply = <&ldo10>;
			avdd_2v8-supply = <&ldo11>;
			dovdd_1v8-supply = <&voutsw>;
			dvdd_1v2-supply = <&ldo12>;
			dphy_val = <0xff1d00 0x00024733 0x04001001>;
			status = "disable";
		};

		mcam1:mcam@1 {
			pwdn-gpios = <&gpio 70 0>;
			reset-gpios = <&gpio 69 0>;
			af_2v8-supply = <&ldo10>;
			avdd_2v8-supply = <&ldo11>;
			dovdd_1v8-supply = <&voutsw>;
			dvdd_1v2-supply = <&ldo12>;
			dphy_val = <0x1806 0x00011 0xe00>;
			status = "okay";
		};

		soc-camera@0 {
			status = "okay";
		};

		soc-camera@1 {
			status = "okay";
		};

		/*
		 * ramoops:
		 * 256 KB memory starts at 0x8100000
		 * pstore dump: 2 chunks, totall 64 KB, 32 KB each
		 * console size: 192 KB
		 * no dump_oops
		 */
		ramoops {
			compatible = "pstore,ramoops";
			mem-size = <0x40000>;
			mem-address = <0x8100000>;
			record-size = <0x8000>;
			console-size = <0x30000>;
			dump-oops = <0>;
			status = "okay";
		};
	};

	mmp_pcm_hostless: mmp_pcm_hostless {
		bus_number = <0>;
		compatible = "marvell,mmp-pcm-hostless";
		#dailink-cells = <1>;
		status = "okay";
	};

	snd_soc_dummy: snd_soc_dummy {
		compatible = "snd-soc-dummy";
		#dailink-cells = <1>;
		status = "okay";
	};

	sound {
		compatible = "marvell,map-card";
		map,dapm-route =
			"ADC input1", "TDM_MIC1_CAP",
			"ADC input2", "TDM_MIC2_CAP",
			"ADC input3", "BT_VC_UL",
			"TDM_OUT1_PLAYBACK", "DAC1 output out1",
			"TDM_OUT2_PLAYBACK", "DAC2 output out2",
			"BT_VC_DL", "ADC output ain3";
		fe_i2s1: fe_i2s1 {
			compatible = "marvell,map-dailink-1";
			dai-name = "MAP I2S1 audio";
			stream-name = "map i2s1";
			marvell,cpu-dai = <&sspa0 0>;
			marvell,codec-dai = <&mmp_map_codec 4>;
			marvell,dai-dynamic;
		};
		fe_i2s3: fe_i2s3 {
			compatible = "marvell,map-dailink-2";
			dai-name = "MAP I2S2 audio";
			stream-name = "map i2s2";
			marvell,cpu-dai = <&mmp_pcm_hostless 0>;
			marvell,codec-dai = <&mmp_map_codec 2>;
			marvell,dai-dynamic;
			marvell,dai-no-host-mode;
		};
		fe_i2s4: fe_i2s4 {
			compatible = "marvell,map-dailink-1";
			dai-name = "MAP I2S3 audio";
			stream-name = "map i2s3";
			marvell,cpu-dai = <&mmp_pcm_hostless 0>;
			marvell,codec-dai = <&mmp_map_codec 3>;
			marvell,dai-dynamic;
			marvell,dai-no-host-mode;
		};
		be_i2s1: be_i2s1 {
			compatible = "marvell,map-dailink-3";
			dai-name = "MAP AUXI2S audio";
			stream-name = "BT audio";
			marvell,cpu-dai = <&mmp_map_be 1>;
			marvell,codec-dai = <&snd_soc_dummy 0>;
			marvell,codec-name = "snd-soc-dummy";
			marvell,codec-dai-name = "snd-soc-dummy-dai";
			marvell,dai-no-pcm;
			marvell,dai-fixup = <0>;
		};
		be_i2s2: be_i2s2 {
			compatible = "marvell,map-dailink-6";
			dai-name = "MAP TDM hs audio";
			stream-name = "codec hs audio";
			marvell,cpu-dai = <&mmp_map_be_tdm 1>;
			marvell,codec-dai = <&pm860_codec 3>;
			marvell,dai-no-pcm;
			marvell,dai-fixup = <1>;
		};
		be_i2s3: be_i2s3 {
			compatible = "marvell,map-dailink-4";
			dai-name = "MAP TDM speaker audio";
			stream-name = "codec speaker audio";
			marvell,cpu-dai = <&mmp_map_be_tdm 2>;
			marvell,codec-dai = <&pm860_codec 4>;
			marvell,dai-no-pcm;
			marvell,dai-fixup = <1>;
		};
		be_i2s4: be_i2s4 {
			compatible = "marvell,map-dailink-5";
			dai-name = "MAP TDM mic1 audio";
			stream-name = "codec mic1 audio";
			marvell,cpu-dai = <&mmp_map_be_tdm 3>;
			marvell,codec-dai = <&pm860_codec 1>;
			marvell,dai-no-pcm;
		};
		be_i2s5: be_i2s5 {
			compatible = "marvell,map-dailink-5";
			dai-name = "MAP TDM mic2 audio";
			stream-name = "codec mic2 audio";
			marvell,cpu-dai = <&mmp_map_be_tdm 4>;
			marvell,codec-dai = <&pm860_codec 2>;
			marvell,dai-no-pcm;
		};
	};

	ion {
		marvell,ion-nr = <2>;
		marvell,ion-iommu = <1>;
		marvell,ion-extra-pages = <0>;
		status = "okay";
		heap1 {
			marvell,ion-name = "carveout_heap";
			marvell,ion-type = <2>;
			marvell,ion-id = <2>;
			marvell,ion-base = <0x09000000>;
			marvell,ion-size = <0x01000000>;
		};
		heap2 {
			marvell,ion-name = "system_heap";
			marvell,ion-type = <0>;
			marvell,ion-id = <0>;
		};
	};

	panel: td043mgea1 {
		compatible = "marvell,mmp-td043mgea1";
		marvell,path-name = "mmp_pnpath";
		status = "okay";
	};

	plat_cam {
		status = "okay";
		backsensor {
			compatible = "marvell,backsensor";
			#address-cells = <1>;
			#size-cells = <0>;
			status = "okay";
			OV13850: sensor@1 {
				compatible = "marvell,ov13850","marvell,sensor";
				pinctrl-names = "default";
				pinctrl-0 = <&ccic1_pmx_func1 &ccic1_pmx_func2>;
				sensor-name = "ovt,ov13850";
				reg = <0x10>;
				adapter = <0x1>;
				status = "okay";
				sensor-pos = <1>;
				mclk = <26000000>;
				dphy3 = <0x1500>;
				dphy5 = <0xff>;
				dphy6 = <0x1001>;
				af_2v8-supply = <&ldo10>;
				avdd_2v8-supply = <&ldo11>;
				dovdd_1v8-supply = <&voutsw>;
				dvdd_1v2-supply = <&ldo12>;
				sensor_power {
					pwdn-gpios = <&gpio 68 0>;
					reset-gpios = <&gpio 67 0>;
					pwdn-validvalue = <0>;
					reset-validvalue = <0>;
				};
			};
		};
	};

	b52isp_sc2_csi0 {
		status = "disabled";
	};
	b52isp_sc2_csi1 {
		status = "disabled";
	};
	b52isp_sc2_dma0 {
		status = "disabled";
	};
	b52isp_sc2_dma1 {
		status = "disabled";
	};

	sd8x-rfkill {
		sd-host = <&sdh2>;
		pd-gpio = <&gpio 7 0>;
		rst-gpio = <&gpio 71 0>;
		3v3-ldo-gpio = <&gpio 20 0>;
		edge-wakeup-gpio = <&gpio 39 0>;
		status = "disabled";
	};

	sd8xxx-wlan {
		drv_mode = <0x5>;
		cfg80211_wext = <0xc>;
		sta_name = "wlan";
		wfd_name = "p2p";
		max_vir_bss = <1>;
		drvdbg = <0x80007>;
		dev_cap_mask = <0xffffcfff>;
		init_cfg = "mrvl/wifi_init_cfg.conf";
		reg_alpha2 = "US";
		p2p_enh = <1>;
	};

	sd8xxx-bt {
		init_cfg = "mrvl/bt_init_cfg.conf";
	};

        mmp-m3 {
		compatible = "marvell,mmp-m3";
		vm3pwr-supply = <&ldo13>;

		pinctrl-names = "default", "poweron";
		pinctrl-0 = <&gnss_pmx_def1 &gnss_pmx_def2>;
		pinctrl-1 = <&gnss_pmx_power_on>;
		status = "okay";
	};

	gps: mmp-gps {
		compatible = "marvell,mmp-gps";
		marvell,gps-eclk-ctrl;

		vgps-supply = <&ldo13>;

		pinctrl-names = "default", "idle";
		pinctrl-0 = <&gps_pmx_eclk &gps_pmx_reset>;
		pinctrl-1 = <&gps_pmx_gpio>;

		on-off-gpio = <&gpio 96 0>;
		reset-n-gpio = <&gpio 12 0>;
	};

	led-rgb {
		compatible = "marvell,led-rgb";
		pinctrl-names = "default";
		pinctrl-0 = <&led_pmx_func>;
		led_r = <&gpio 102 0>;
		led_g = <&gpio 103 0>;
		led_b = <&gpio 104 0>;
		status = "okay";
	};

	board-thermal {
		compatible = "marvell,gpadc-thermal";
		status = "okay";
	};

	smc91x: smc91x@80000300 {
		compatible = "smsc,lan91c111";
		reg = <0x0 0x80000300 0xffcff>;
		interrupts = <0 63 0x1>;
		rst_gpio = <&gpio 3 0>;
		clksrc = "smc91x";
		status = "okay";
	};
};
